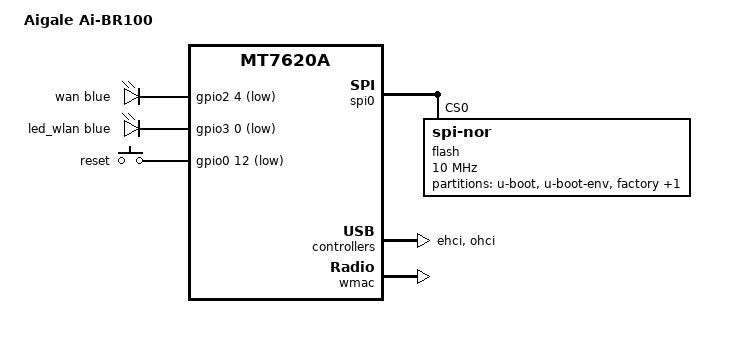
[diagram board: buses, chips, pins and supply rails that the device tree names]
#include "mt7620a.dtsi"

#include <dt-bindings/gpio/gpio.h>
#include <dt-bindings/input/input.h>
#include <dt-bindings/leds/common.h>

/ {
	compatible = "aigale,ai-br100", "ralink,mt7620a-soc";
	model = "Aigale Ai-BR100";

	aliases {
		led-boot = &led_wlan;
		led-failsafe = &led_wlan;
		led-running = &led_wlan;
		led-upgrade = &led_wlan;
	};

	leds {
		compatible = "gpio-leds";

		wan {
			function = LED_FUNCTION_WAN;
			color = <LED_COLOR_ID_BLUE>;
			gpios = <&gpio2 4 GPIO_ACTIVE_LOW>;
		};

		led_wlan: wlan {
			function = LED_FUNCTION_WLAN;
			color = <LED_COLOR_ID_BLUE>;
			gpios = <&gpio3 0 GPIO_ACTIVE_LOW>;
		};
	};

	keys {
		compatible = "gpio-keys";

		reset {
			label = "reset";
			gpios = <&gpio0 12 GPIO_ACTIVE_LOW>;
			linux,code = <KEY_RESTART>;
		};
	};
};

&gpio2 {
	status = "okay";
};

&gpio3 {
	status = "okay";
};

&spi0 {
	status = "okay";

	flash@0 {
		compatible = "jedec,spi-nor";
		reg = <0>;
		spi-max-frequency = <10000000>;

		partitions {
			compatible = "fixed-partitions";
			#address-cells = <1>;
			#size-cells = <1>;

			partition@0 {
				label = "u-boot";
				reg = <0x0 0x20000>;
				read-only;
			};

			partition@20000 {
				label = "u-boot-env";
				reg = <0x20000 0x10000>;
				read-only;
			};

			partition@30000 {
				label = "factory";
				reg = <0x30000 0x10000>;
				read-only;

				nvmem-layout {
					compatible = "fixed-layout";
					#address-cells = <1>;
					#size-cells = <1>;

					eeprom_factory_0: eeprom@0 {
						reg = <0x0 0x200>;
					};

					macaddr_factory_4: macaddr@4 {
						reg = <0x4 0x6>;
					};
				};
			};

			partition@40000 {
				compatible = "denx,uimage";
				label = "firmware";
				reg = <0x40000 0x7c0000>;
			};
		};
	};
};

&ehci {
	status = "okay";
};

&ohci {
	status = "okay";
};

&state_default {
	gpio {
		groups = "i2c", "uartf", "rgmii1", "rgmii2", "ephy", "wled", "nd_sd";
		function = "gpio";
	};
};

&ethernet {
	nvmem-cells = <&macaddr_factory_4>;
	nvmem-cell-names = "mac-address";

	mediatek,portmap = "llllw";
};

&wmac {
	nvmem-cells = <&eeprom_factory_0>;
	nvmem-cell-names = "eeprom";
};
